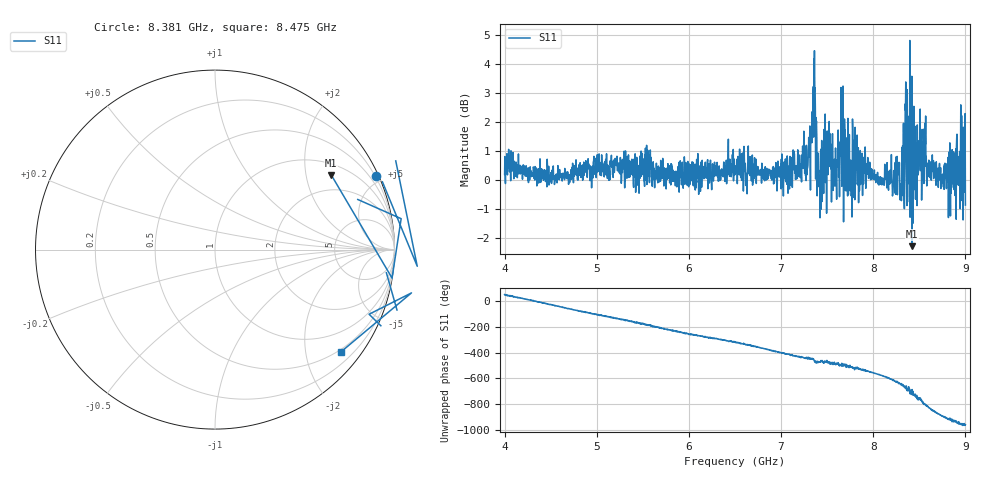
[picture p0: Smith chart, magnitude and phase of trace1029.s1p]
! Created with skrf 1.8.0 (http://scikit-rf.org).
# Hz S RI R 50.0
!freq ReS11 ImS11
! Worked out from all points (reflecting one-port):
!   1601 points, 4 GHz to 9 GHz, reference 50 ohm
!   lowest |S11| = -2.3 dB at 8.422 GHz (marker M1), VSWR 7.69, Z = 68.4 + j140 ohm
!   phase of S11 starts at 54 deg and turns -1014 deg over the sweep
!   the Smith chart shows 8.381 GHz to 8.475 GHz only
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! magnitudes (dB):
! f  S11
! 4 GHz  0.2
! 4.625 GHz  0.0
! 5.25 GHz  0.3
! 5.875 GHz  0.2
! 6.5 GHz  0.5
! 7.125 GHz  0.3
! 7.294 GHz  0.8
! 7.347 GHz  3.0
! 7.362 GHz  4.5
! 7.4 GHz  0.9
! 7.428 GHz  0.9
! 7.503 GHz  0.9
! 7.591 GHz  1.1
! 7.669 GHz  2.2
! 7.75 GHz  -0.1
! 7.769 GHz  -1.3
! 7.8 GHz  -0.7
! 8.075 GHz  0.1
! 8.312 GHz  1.1
! 8.334 GHz  -0.6
! 8.375 GHz  2.0
! 8.422 GHz  -2.3
! 8.447 GHz  1.6
! 8.544 GHz  1.6
! 8.606 GHz  0.3
! 8.747 GHz  0.1
! 8.972 GHz  0.7
! 9 GHz  -0.9
